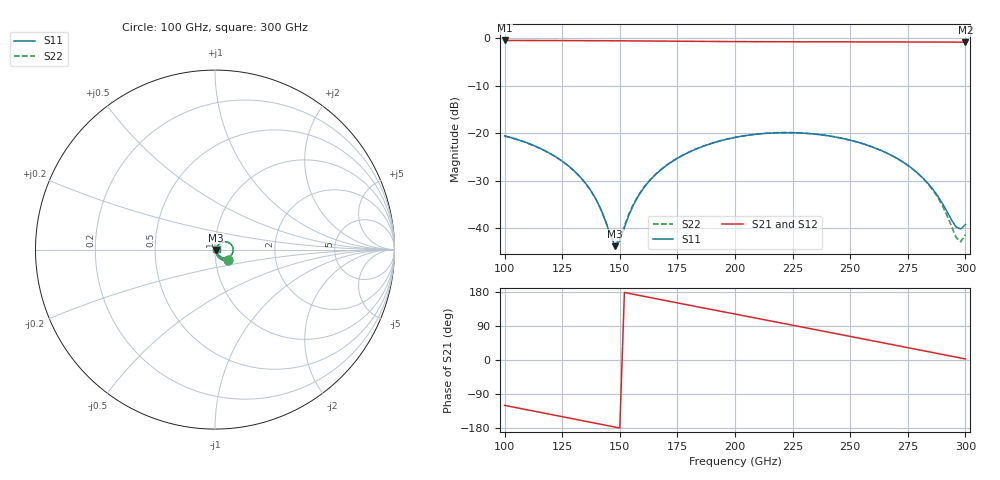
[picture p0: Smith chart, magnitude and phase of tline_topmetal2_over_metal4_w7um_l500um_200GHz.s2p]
#  GHZ S DB R 50
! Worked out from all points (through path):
!   101 points, 100 GHz to 300 GHz, reference 50 ohm
!   highest |S21| = -0.46 dB at 100 GHz (marker M1); lowest = -0.8 dB at 300 GHz (marker M2)
!   group delay of S21, straight-line fit = 3.29 ps
!   lowest |S11| = -43.8 dB at 148 GHz (marker M3), VSWR 1.01, Z = 50.6 - j0.154 ohm
!   |S11| at or under -10 dB: start of sweep to end of sweep
!   |S22| runs from -43.5 to -19.9 dB; largest |S21 - S12| = 1.1e-14
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100  -20.58 -39.3  -0.46 -119.7  -0.46 -119.7  -20.60 -39.4
120  -24.36 -59.2  -0.48 -143.6  -0.48 -143.6  -24.39 -59.3
128  -27.02 -65.9  -0.49 -153.2  -0.49 -153.2  -27.06 -65.9
134  -29.89 -69.3  -0.50 -160.3  -0.50 -160.3  -29.94 -69.2
140  -34.23 -68.3  -0.51 -167.5  -0.51 -167.5  -34.30 -67.7
148  -43.83 -13.7  -0.53 -177.1  -0.53 -177.1  -43.46 -11.4
150  -42.74 20.4  -0.54 -179.5  -0.54 -179.5  -42.26 20.7
154  -37.24 49.3  -0.55 175.7  -0.55 175.7  -36.98 48.3
158  -33.30 55.5  -0.56 171.0  -0.56 171.0  -33.15 54.4
168  -27.67 52.9  -0.59 159.1  -0.59 159.1  -27.59 51.9
182  -23.59 41.0  -0.64 142.4  -0.64 142.4  -23.54 40.2
200  -20.92 22.6  -0.70 121.2  -0.70 121.2  -20.88 21.7
218  -19.93 3.0  -0.73 100.1  -0.73 100.1  -19.91 2.0
234  -20.18 -14.5  -0.75 81.2  -0.75 81.2  -20.16 -15.7
250  -21.49 -31.4  -0.76 62.3  -0.76 62.3  -21.47 -33.0
268  -24.71 -48.7  -0.77 40.9  -0.77 40.9  -24.71 -51.2
276  -27.13 -54.6  -0.78 31.3  -0.78 31.3  -27.16 -57.9
284  -30.72 -56.9  -0.79 21.8  -0.79 21.8  -30.85 -61.9
290  -34.79 -50.9  -0.80 14.7  -0.80 14.7  -35.27 -58.7
296  -39.80 -18.3  -0.81 7.5  -0.81 7.5  -42.00 -25.9
298  -40.22 2.8  -0.82 5.1  -0.82 5.1  -42.90 2.6
300  -39.27 22.3  -0.82 2.7  -0.82 2.7  -41.39 28.7
